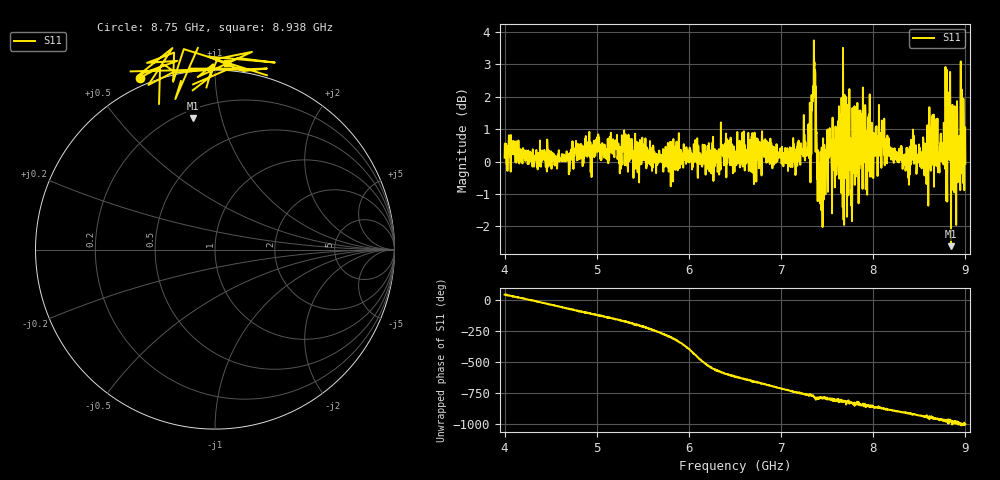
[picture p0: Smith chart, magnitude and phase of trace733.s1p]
! Created with skrf 1.8.0 (http://scikit-rf.org).
# Hz S RI R 50.0
!freq ReS11 ImS11
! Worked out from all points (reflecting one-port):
!   1601 points, 4 GHz to 9 GHz, reference 50 ohm
!   lowest |S11| = -2.6 dB at 8.844 GHz (marker M1), VSWR 6.71, Z = 12.6 + j40.8 ohm
!   phase of S11 starts at 46 deg and turns -1050 deg over the sweep
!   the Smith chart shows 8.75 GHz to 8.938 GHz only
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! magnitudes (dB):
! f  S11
! 4 GHz  0.1
! 4.625 GHz  0.0
! 5.25 GHz  -0.4
! 5.875 GHz  0.2
! 6.5 GHz  0.3
! 7.125 GHz  0.4
! 7.294 GHz  0.3
! 7.356 GHz  3.7
! 7.381 GHz  0.8
! 7.4 GHz  0.4
! 7.428 GHz  0.3
! 7.512 GHz  1.0
! 7.588 GHz  -0.2
! 7.65 GHz  0.5
! 7.75 GHz  0.1
! 7.769 GHz  -1.8
! 7.812 GHz  1.0
! 7.891 GHz  0.3
! 7.944 GHz  1.4
! 8.375 GHz  -0.1
! 8.438 GHz  0.8
! 8.572 GHz  -0.3
! 8.656 GHz  1.4
! 8.725 GHz  0.6
! 8.809 GHz  2.1
! 8.844 GHz  -2.6
! 8.956 GHz  0.5
! 9 GHz  -0.1
